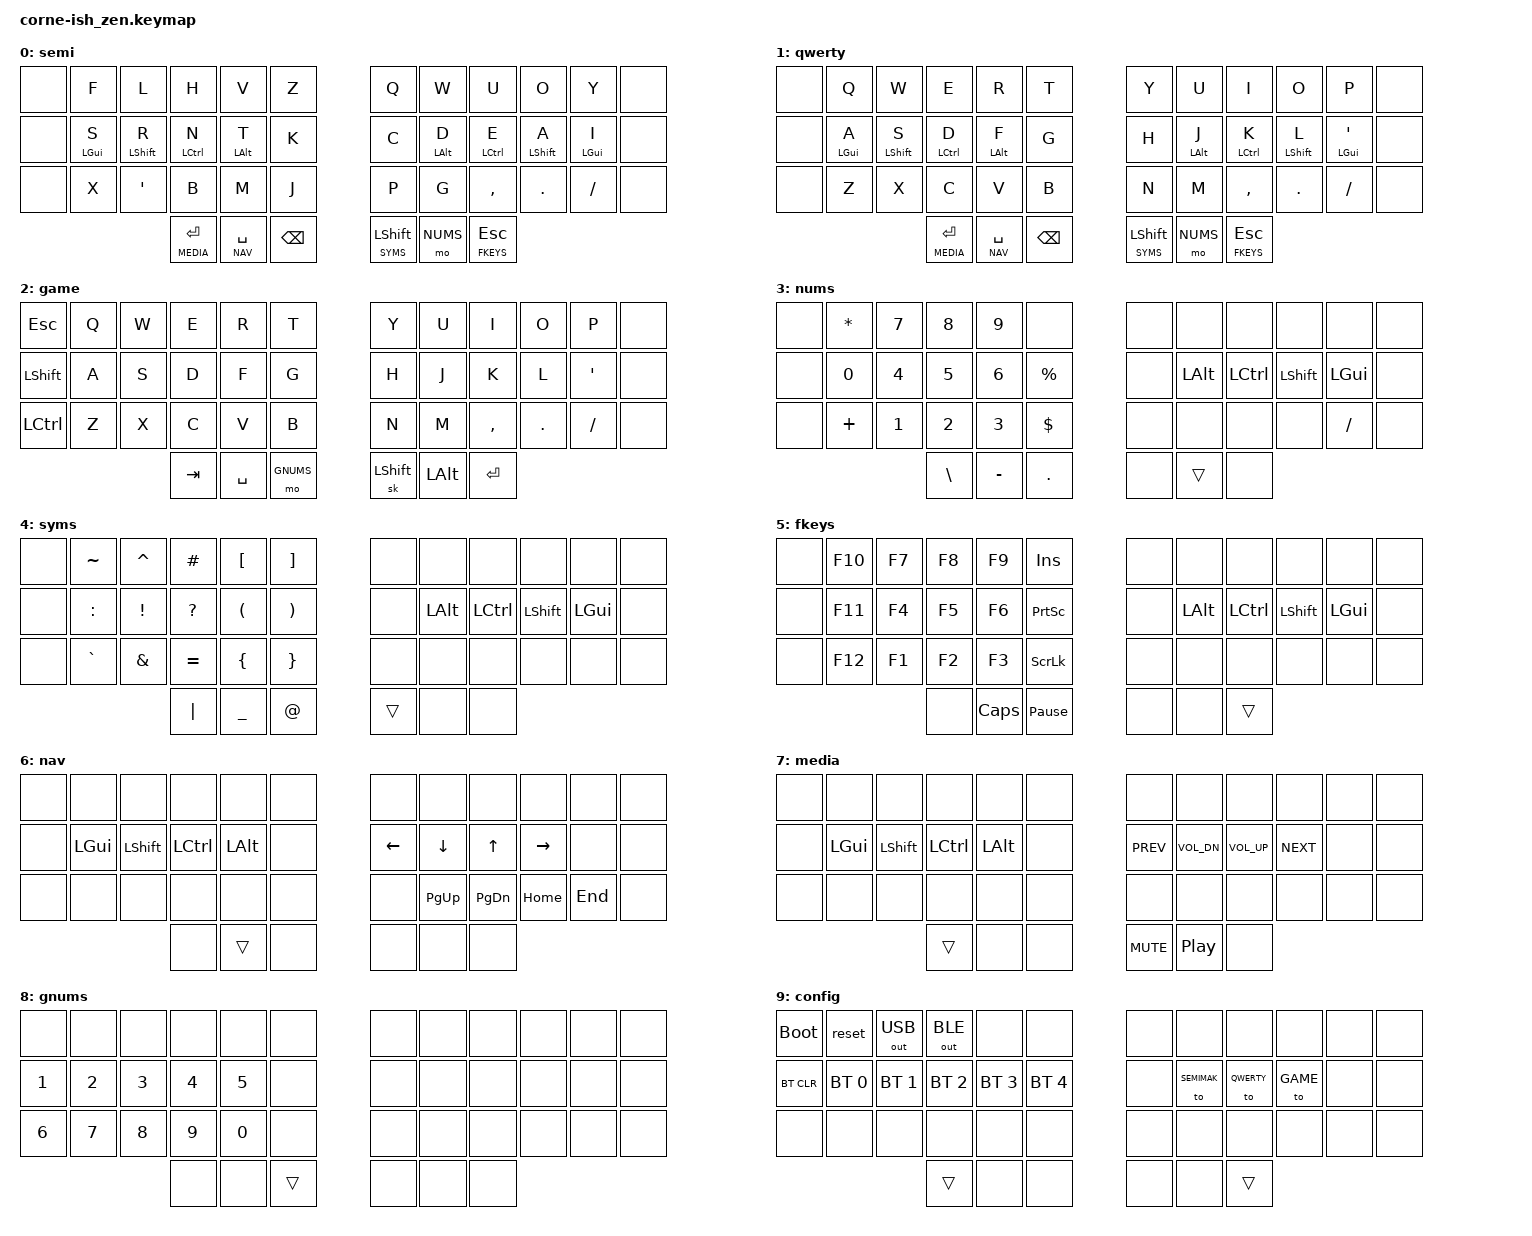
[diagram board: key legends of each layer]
/*
 * Copyright (c) 2020 The ZMK Contributors
 *               2021 Niclas Meyer
 *
 * SPDX-License-Identifier: MIT
 */

#include <behaviors.dtsi>
#include <dt-bindings/zmk/keys.h>
#include <dt-bindings/zmk/bt.h>
#include <dt-bindings/zmk/outputs.h>

#define TAPTERM 200
#define TAPHOLDFLAVOR "tap-preferred"
#define COMBOTERM 22
#define COMBOTERM_LONG 40

#define COMBO(name, to, pos, bind, ls) combo_##name { timeout-ms = <to>; key-positions = pos; bindings = bind; layers = ls; }
#define QCOMBO(name, pos, bind) COMBO(name, COMBOTERM, pos, bind, <SEMIMAK QWERTY>)

#define SEMIMAK  0
#define QWERTY   1
#define GAME     2
#define NUMS     3
#define SYMS     4
#define FKEYS    5
#define NAV      6
#define MEDIA    7
#define GNUMS    8
#define CONFIG   9

&sk {
    quick-release;
};

/ {
    behaviors {
        lst: layer_sticky_tap {
            compatible = "zmk,behavior-hold-tap";
            label = "LAYER_STICKY_TAP";
            #binding-cells = <2>;
            tapping-term-ms = <TAPTERM>;
            //quick_tap_ms = <-1>;
            flavor = TAPHOLDFLAVOR;
            bindings = <&mo>, <&sk>;
        };

        hm: homerow_mods {
            compatible = "zmk,behavior-hold-tap";
            label = "HOMEROW_MODS";
            #binding-cells = <2>;
            tapping-term-ms = <TAPTERM>;
            //quick_tap_ms = <-1>;
            flavor = TAPHOLDFLAVOR;
            bindings = <&kp>, <&kp>;
        };
    };

    keymap {
        compatible = "zmk,keymap";

        semimak_layer {
            label = " semi "; // XXX: work around for display issues
// ╭─────┬─────┬─────┬─────┬─────┬─────╮   ╭─────┬─────┬─────┬─────┬─────┬─────╮
// │     │  F  │  L  │  H  │  V  │  Z  │   │  Q  │  W  │  U  │  O  │  Y  │     │
// │     │  S  │  R  │  N  │  T  │  K  │   │  C  │  D  │  E  │  A  │  I  │     │
// │     │  X  │  '  │  B  │  M  │  J  │   │  P  │  G  │  ,  │  .  │  /  │     │
// ╰─────┴─────┴─────┤ RET │ SPC │ BSP │   │ SFT │ NUM │ ESC ├─────┴─────┴─────╯
//                   ╰─────┴─────┴─────╯   ╰─────┴─────┴─────╯
            bindings = <
    &none  &kp F       &kp L          &kp H          &kp V        &kp Z            &kp Q     &kp W          &kp U        &kp O        &kp Y       &none
    &none  &hm LGUI S  &hm LSHFT R    &hm LCTRL N    &hm LALT T   &kp K            &kp C     &hm LALT D     &hm LCTRL E  &hm LSHFT A  &hm LGUI I  &none
    &none  &kp X       &kp SQT        &kp B          &kp M        &kp J            &kp P     &kp G          &kp COMMA    &kp DOT      &kp FSLH    &none
                       &lt MEDIA RET  &lt NAV SPACE  &kp BSPC     &lst SYMS LSHFT  &mo NUMS  &lt FKEYS ESC
            >;
        };

        qwerty_layer {
            label = "qwerty";
// ╭─────┬─────┬─────┬─────┬─────┬─────╮   ╭─────┬─────┬─────┬─────┬─────┬─────╮
// │     │  Q  │  W  │  E  │  R  │  T  │   │  Y  │  U  │  I  │  O  │  P  │     │
// │     │  A  │  S  │  D  │  F  │  G  │   │  H  │  J  │  K  │  L  │  '  │     │
// │     │  Z  │  X  │  C  │  V  │  B  │   │  N  │  M  │  ,  │  .  │  /  │     │
// ╰─────┴─────┴─────┤ RET │ SPC │ BSP │   │ SFT │ REP │ ESC ├─────┴─────┴─────╯
//                   ╰─────┴─────┴─────╯   ╰─────┴─────┴─────╯
            bindings = <
    &none  &kp Q       &kp W          &kp E          &kp R        &kp T            &kp Y     &kp U          &kp I        &kp O        &kp P         &none
    &none  &hm LGUI A  &hm LSHFT S    &hm LCTRL D    &hm LALT F   &kp G            &kp H     &hm LALT J     &hm LCTRL K  &hm LSHFT L  &hm LGUI SQT  &none
    &none  &kp Z       &kp X          &kp C          &kp V        &kp B            &kp N     &kp M          &kp COMMA    &kp DOT      &kp FSLH      &none
                       &lt MEDIA RET  &lt NAV SPACE  &kp BSPC     &lst SYMS LSHFT  &mo NUMS  &lt FKEYS ESC
            >;
        };

        game_layer {
            label = "game";
// ╭─────┬─────┬─────┬─────┬─────┬─────╮   ╭─────┬─────┬─────┬─────┬─────┬─────╮
// │ ESC │  Q  │  W  │  E  │  R  │  T  │   │  Y  │  U  │  I  │  O  │  P  │     │
// │ SHFT│  A  │  S  │  D  │  F  │  G  │   │  H  │  J  │  K  │  L  │  '  │     │
// │ CTRL│  Z  │  X  │  C  │  V  │  B  │   │  N  │  M  │  ,  │  .  │  /  │     │
// ╰─────┴─────┴─────┤ TAB │ SPC │ NUM │   │ SFT │ ALT │ RET ├─────┴─────┴─────╯
//                   ╰─────┴─────┴─────╯   ╰─────┴─────┴─────╯
            bindings = <
    &kp ESC    &kp Q  &kp W    &kp E      &kp R      &kp T      &kp Y     &kp U   &kp I      &kp O    &kp P     &none
    &kp LSHFT  &kp A  &kp S    &kp D      &kp F      &kp G      &kp H     &kp J   &kp K      &kp L    &kp SQT   &none
    &kp LCTRL  &kp Z  &kp X    &kp C      &kp V      &kp B      &kp N     &kp M   &kp COMMA  &kp DOT  &kp FSLH  &none
                      &kp TAB  &kp SPACE  &mo GNUMS  &sk LSHFT  &kp LALT  &kp RET
            >;
        };

        nums_layer {
            label = "nums";
// ╭─────┬─────┬─────┬─────┬─────┬─────╮   ╭─────┬─────┬─────┬─────┬─────┬─────╮
// │     │  *  │  7  │  8  │  9  │     │   │     │     │     │     │     │     │
// │     │  0  │  4  │  5  │  6  │  %  │   │     │ ALT │ CTRL│ SHFT│ GUI │     │
// │     │  +  │  1  │  2  │  3  │  $  │   │     │     │     │     │  /  │     │
// ╰─────┴─────┴─────┤  \  │  -  │  .  │   │     │     │     ├─────┴─────┴─────╯
//                   ╰─────┴─────┴─────╯   ╰─────┴─────┴─────╯
            bindings = <
    &none  &kp STAR  &kp N7  &kp N8    &kp N9     &none        &none  &none     &none      &none      &none     &none
    &none  &kp N0    &kp N4  &kp N5    &kp N6     &kp PERCENT  &none  &kp LALT  &kp LCTRL  &kp LSHFT  &kp LGUI  &none
    &none  &kp PLUS  &kp N1  &kp N2    &kp N3     &kp DOLLAR   &none  &none     &none      &none      &kp FSLH  &none
                             &kp BSLH  &kp MINUS  &kp DOT      &none  &trans    &none
            >;
        };

        syms_layer {
            label = "syms";
// ╭─────┬─────┬─────┬─────┬─────┬─────╮   ╭─────┬─────┬─────┬─────┬─────┬─────╮
// │     │  ~  │  ^  │  #  │  [  │  ]  │   │     │     │     │     │     │     │
// │     │  :  │  !  │  ?  │  (  │  )  │   │     │ ALT │ CTRL│ SHFT│ GUI │     │
// │     │  `  │  &  │  =  │  {  │  }  │   │     │     │     │     │     │     │
// ╰─────┴─────┴─────┤  |  │  _  │  @  │   │     │     │     ├─────┴─────┴─────╯
//                   ╰─────┴─────┴─────╯   ╰─────┴─────┴─────╯
            bindings = <
    &none  &kp TILDE  &kp CARET &kp HASH   &kp LBKT   &kp RBKT  &none   &none     &none      &none      &none     &none
    &none  &kp COLON  &kp EXCL  &kp QMARK  &kp LPAR   &kp RPAR  &none   &kp LALT  &kp LCTRL  &kp LSHFT  &kp LGUI  &none
    &none  &kp GRAVE  &kp AMPS  &kp EQUAL  &kp LBRC   &kp RBRC  &none   &none     &none      &none      &none     &none
                                &kp PIPE   &kp UNDER  &kp AT    &trans  &none     &none
            >;
        };

        fkeys_layer {
            label = "fkeys";
// ╭─────┬─────┬─────┬─────┬─────┬─────╮   ╭─────┬─────┬─────┬─────┬─────┬─────╮
// │     │ F10 │  F7 │  F8 │  F9 │insrt│   │     │     │     │     │     │     │
// │     │ F11 │  F4 │  F5 │  F6 │prtsc│   │     │ ALT │ CTRL│ SHFT│ GUI │     │
// │     │ F12 │  F1 │  F2 │  F3 │scrlk│   │     │     │     │     │     │     │
// ╰─────┴─────┴─────┤     │ caps│pause│   │     │     │     ├─────┴─────┴─────╯
//                   ╰─────┴─────┴─────╯   ╰─────┴─────┴─────╯
            bindings = <
    &none  &kp F10  &kp F7  &kp F8  &kp F9    &kp INS          &none  &none     &none      &none      &none     &none
    &none  &kp F11  &kp F4  &kp F5  &kp F6    &kp PSCRN        &none  &kp LALT  &kp LCTRL  &kp LSHFT  &kp LGUI  &none
    &none  &kp F12  &kp F1  &kp F2  &kp F3    &kp SLCK         &none  &none     &none      &none      &none     &none
                            &none   &kp CAPS  &kp PAUSE_BREAK  &none  &none     &trans
            >;
        };

        nav_layer {
            label = "nav";
// ╭─────┬─────┬─────┬─────┬─────┬─────╮   ╭─────┬─────┬─────┬─────┬─────┬─────╮
// │     │     │     │     │     │     │   │     │     │     │     │     │     │
// │     │ GUI │ SHFT│ CTRL│ ALT │     │   │ LEFT│ DOWN│  UP │RIGHT│     │     │
// │     │     │     │     │     │     │   │     │ pgup│ pgdn│ home│ end │     │
// ╰─────┴─────┴─────┤     │     │     │   │     │     │     ├─────┴─────┴─────╯
//                   ╰─────┴─────┴─────╯   ╰─────┴─────┴─────╯
            bindings = <
    &none  &none     &none      &none      &none     &none  &none     &none      &none      &none      &none    &none
    &none  &kp LGUI  &kp LSHFT  &kp LCTRL  &kp LALT  &none  &kp LEFT  &kp DOWN   &kp UP     &kp RIGHT  &none    &none
    &none  &none     &none      &none      &none     &none  &none     &kp PG_UP  &kp PG_DN  &kp HOME   &kp END  &none
                                &none      &trans    &none  &none     &none      &none
            >;
        };

        media_layer {
            label = "media";
// ╭─────┬─────┬─────┬─────┬─────┬─────╮   ╭─────┬─────┬─────┬─────┬─────┬─────╮
// │     │     │     │     │     │     │   │     │     │     │     │     │     │
// │     │ GUI │ SHFT│ CTRL│ ALT │     │   │ prev│voldn│volup│ next│     │     │
// │     │     │     │     │     │     │   │     │     │     │     │     │     │
// ╰─────┴─────┴─────┤     │     │     │   │ mute│ play│     ├─────┴─────┴─────╯
//                   ╰─────┴─────┴─────╯   ╰─────┴─────┴─────╯
            bindings = <
    &none  &none     &none      &none      &none     &none  &none       &none             &none         &none       &none  &none
    &none  &kp LGUI  &kp LSHFT  &kp LCTRL  &kp LALT  &none  &kp C_PREV  &kp C_VOL_DN      &kp C_VOL_UP  &kp C_NEXT  &none  &none
    &none  &none     &none      &none      &none     &none  &none       &none             &none         &none       &none  &none
                                &trans     &none     &none  &kp C_MUTE  &kp C_PLAY_PAUSE  &none
            >;
        };

        gnums_layer {
            label = "gnums";
// ╭─────┬─────┬─────┬─────┬─────┬─────╮   ╭─────┬─────┬─────┬─────┬─────┬─────╮
// │     │     │     │     │     │     │   │     │     │     │     │     │     │
// │  1  │  2  │  3  │  4  │  5  │     │   │     │     │     │     │     │     │
// │  6  │  7  │  8  │  9  │  0  │     │   │     │     │     │     │     │     │
// ╰─────┴─────┴─────┤     │     │     │   │     │     │     ├─────┴─────┴─────╯
//                   ╰─────┴─────┴─────╯   ╰─────┴─────┴─────╯
            bindings = <
    &none   &none   &none   &none   &none   &none   &none  &none  &none  &none  &none  &none
    &kp N1  &kp N2  &kp N3  &kp N4  &kp N5  &none   &none  &none  &none  &none  &none  &none
    &kp N6  &kp N7  &kp N8  &kp N9  &kp N0  &none   &none  &none  &none  &none  &none  &none
                         &none  &none  &trans  &none  &none  &none
            >;
        };

        config_layer {
            label = "config";
// ╭─────┬─────┬─────┬─────┬─────┬─────╮   ╭─────┬─────┬─────┬─────┬─────┬─────╮
// │bootl│reset│ USB │ BLE │     │     │   │     │     │     │     │     │     │
// │btclr│ BT1 │ BT2 │ BT3 │ BT4 │ BT5 │   │     │ semi│qwert│ game│     │     │
// │     │     │     │     │     │     │   │     │     │     │     │     │     │
// ╰─────┴─────┴─────┤     │     │     │   │     │     │     ├─────┴─────┴─────╯
//                   ╰─────┴─────┴─────╯   ╰─────┴─────┴─────╯
            bindings = <
    &bootloader  &reset        &out OUT_USB  &out OUT_BLE  &none         &none         &none  &none        &none       &none     &none  &none
    &bt BT_CLR   &bt BT_SEL 0  &bt BT_SEL 1  &bt BT_SEL 2  &bt BT_SEL 3  &bt BT_SEL 4  &none  &to SEMIMAK  &to QWERTY  &to GAME  &none  &none
    &none        &none         &none         &none         &none         &none         &none  &none        &none       &none     &none  &none
                                             &trans        &none         &none         &none  &none        &trans
            >;
        };
    };

    combos {
        compatible = "zmk,combos";

        QCOMBO(tab,   <2 3>,   <&kp TAB>);
        QCOMBO(copy,  <26 27>, <&kp LC(C)>);
        QCOMBO(cut,   <26 28>, <&kp LC(X)>);
        QCOMBO(paste, <27 28>, <&kp LC(V)>);
        QCOMBO(semi,  <32 33>, <&kp SEMI>);

        COMBO(config, COMBOTERM_LONG, <36 41>, <&mo CONFIG>, <SEMIMAK QWERTY GAME>);
    };
};
